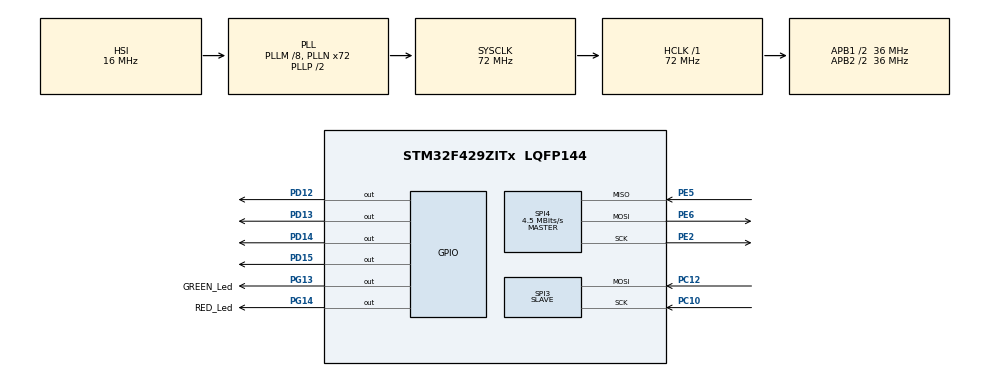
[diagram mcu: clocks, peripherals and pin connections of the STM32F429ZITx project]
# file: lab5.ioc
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Mcu.Family=STM32F4
Mcu.Name=STM32F429ZITx
Mcu.Package=LQFP144
NVIC.PriorityGroup=NVIC_PRIORITYGROUP_4
NVIC.SPI3_IRQn=true\:0\:0\:false\:false\:true\:true\:true\:true
NVIC.TIM2_IRQn=true\:0\:0\:false\:false\:true\:true\:true\:true
PA13.Mode=Serial_Wire
PA13.Signal=SYS_JTMS-SWDIO
PA14.Mode=Serial_Wire
PA14.Signal=SYS_JTCK-SWCLK
PA5.Signal=SPI1_SCK
PA6.Signal=SPI1_MISO
PA7.Signal=SPI1_MOSI
PB10.Signal=SPI2_SCK
PB3.Signal=SYS_JTDO-SWO
PC10.Mode=RX_Only_Simplex_Unidirect_Slave
PC10.Signal=SPI3_SCK
PC12.Mode=RX_Only_Simplex_Unidirect_Slave
PC12.Signal=SPI3_MOSI
PC3.Signal=SPI2_MOSI
PD12.Signal=GPIO_Output
PD13.Signal=GPIO_Output
PD14.Signal=GPIO_Output
PD15.Signal=GPIO_Output
PE2.Mode=Full_Duplex_Master
PE2.Signal=SPI4_SCK
PE5.Mode=Full_Duplex_Master
PE5.Signal=SPI4_MISO
PE6.Mode=Full_Duplex_Master
PE6.Signal=SPI4_MOSI
PG13.GPIO_Label=GREEN_Led
PG13.Signal=GPIO_Output
PG14.GPIO_Label=RED_Led
PG14.Signal=GPIO_Output
ProjectManager.HeapSize=0x200
ProjectManager.StackSize=0x400
ProjectManager.TargetToolchain=STM32CubeIDE
RCC.48MHZClocksFreq_Value=48000000
RCC.AHBFreq_Value=72000000
RCC.APB1CLKDivider=RCC_HCLK_DIV2
RCC.APB1Freq_Value=36000000
RCC.APB1TimFreq_Value=72000000
RCC.APB2CLKDivider=RCC_HCLK_DIV2
RCC.APB2Freq_Value=36000000
RCC.APB2TimFreq_Value=72000000
RCC.CortexFreq_Value=72000000
RCC.HCLKFreq_Value=72000000
RCC.HSE_VALUE=8000000
RCC.HSI_VALUE=16000000
RCC.LSE_VALUE=32768
RCC.PLLM=8
RCC.PLLN=72
RCC.PLLQ=3
RCC.PLLSAIN=50
RCC.SYSCLKFreq_VALUE=72000000
RCC.SYSCLKSource=RCC_SYSCLKSOURCE_PLLCLK
RCC.VCOOutputFreq_Value=144000000
SPI3.Direction=SPI_DIRECTION_2LINES_RXONLY
SPI3.Mode=SPI_MODE_SLAVE
SPI3.VirtualType=VM_SLAVE
SPI4.BaudRatePrescaler=SPI_BAUDRATEPRESCALER_8
SPI4.CalculateBaudRate=4.5 MBits/s
SPI4.Direction=SPI_DIRECTION_2LINES
SPI4.Mode=SPI_MODE_MASTER
SPI4.VirtualType=VM_MASTER
TIM2.Prescaler=8399
VP_TIM2_VS_ClockSourceINT.Mode=Internal
board=STM32F429I-DISC1

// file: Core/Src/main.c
/* USER CODE BEGIN Header */
/**
  ******************************************************************************
  * @file           : main.c
  * @brief          : Main program body
  ******************************************************************************
  * @attention
  *
  * Copyright (c) 2026 STMicroelectronics.
  * All rights reserved.
  *
  * This software is licensed under terms that can be found in the LICENSE file
  * in the root directory of this software component.
  * If no LICENSE file comes with this software, it is provided AS-IS.
  *
  ******************************************************************************
  */
/* USER CODE END Header */
#include "main.h"

/* USER CODE BEGIN Includes */
#include <stdio.h>                             // Reikalinga sprintf funkcijai
//#include "stm32f429i_discovery_lcd.h"          // Pagrindinė LCD biblioteka
/* USER CODE END Includes */

SPI_HandleTypeDef hspi3;
SPI_HandleTypeDef hspi4;

TIM_HandleTypeDef htim2;

/* USER CODE BEGIN PV */
// Privaloma dalis (Loopback)
uint8_t tx_loopback[4] = {8, 12, 13, 15};
uint8_t rx_loopback[4] = {0, 0, 0, 0};

// Papildoma dalis (Master -> Slave)
uint8_t tx_sequence[4] = {1, 3, 7, 12};
uint8_t rx_slave_val = 0;
uint8_t seq_index = 0;
// char lcd_buffer[30];
/* USER CODE END PV */

void SystemClock_Config(void);
static void MX_GPIO_Init(void);
static void MX_SPI3_Init(void);
static void MX_SPI4_Init(void);
static void MX_TIM2_Init(void);

int main(void)
{

  /* MCU Configuration--------------------------------------------------------*/

  /* Reset of all peripherals, Initializes the Flash interface and the Systick. */
  HAL_Init();

  /* Configure the system clock */
  SystemClock_Config();

  /* Initialize all configured peripherals */
  MX_GPIO_Init();
  MX_SPI3_Init();
  MX_SPI4_Init();
  MX_TIM2_Init();
  /* USER CODE BEGIN 2 */
  SET_BIT(hspi3.Instance->CR1, SPI_CR1_SSI);
  // 1. Vykdom Loopback testą (užpildys rx_loopback masyvą)

  // 2. Paleidžiam laikmatį (siųs po 1 baitą kas sekundę)
  HAL_TIM_Base_Start_IT(&htim2);

  // 3. Paruošiam SPI3 priimti pirmąjį baitą
  HAL_SPI_Receive_IT(&hspi3, &rx_slave_val, 1);
  // 1. LCD Inicializacija (BŪTINA TFT ekranui)
//   BSP_LCD_Init();
//   BSP_LCD_LayerDefaultInit(1, LCD_FRAME_BUFFER);
//   BSP_LCD_SelectLayer(1);
//   BSP_LCD_DisplayOn();
//   BSP_LCD_Clear(LCD_COLOR_WHITE);
//   BSP_LCD_SetTextColor(LCD_COLOR_BLACK);
//   BSP_LCD_SetBackColor(LCD_COLOR_WHITE);
//   BSP_LCD_SetFont(&Font16);

 //  BSP_LCD_DisplayStringAt(0, 10, (uint8_t *)"SPI Laboras 5", CENTER_MODE);

   // 2. PRIVALOMA DALIS: TransmitReceive (Loopback per PE6-PE5)
   // Ši funkcija blokuoja CPU, kol nusiunčia ir priima visus 4 baitus.
   HAL_SPI_TransmitReceive(&hspi4, tx_loopback, rx_loopback, 4, 100);

   // Rezultatų išvedimas į ekraną
//   BSP_LCD_DisplayStringAt(0, 40, (uint8_t *)"Loopback (SPI4):", LEFT_MODE);
//   for(int i=0; i<4; i++) {
// 	  sprintf(lcd_buffer, "TX:%d -> RX:%d", tx_loopback[i], rx_loopback[i]);
// 	  BSP_LCD_DisplayStringAt(0, 60 + (i*20), (uint8_t *)lcd_buffer, LEFT_MODE);
//   }

   // 3. PAPILDOMA DALIS: Paleidžiam laikmatį ir SPI3 Slave laukimą
   HAL_TIM_Base_Start_IT(&htim2); // TIM2 kas 1s duos pertrauktį
   HAL_SPI_Receive_IT(&hspi3, &rx_slave_val, 1); // SPI3 paruošiamas priimti 1 baitą
  /* USER CODE END 2 */

  /* Infinite loop */
  /* USER CODE BEGIN WHILE */
   while (1)
     {
         // 1. Išvalom masyvą, kad matytume tikrus duomenis
         for(int i=0; i<4; i++) rx_loopback[i] = 0;

         // 2. Siunčiam ir priimam Loopback duomenis
         HAL_SPI_TransmitReceive(&hspi4, tx_loopback, rx_loopback, 4, 100);

         // 3. Patikrinam, ar Slave pasiruošęs priimti kitą baitą
         if (hspi3.State == HAL_SPI_STATE_READY)
         {
             HAL_SPI_Receive_IT(&hspi3, &rx_slave_val, 1);
         } // <-- ŠITO SKLIAUSTO TRŪKO (uždaro if)

         HAL_Delay(500); // Pauzė, kad Live Expressions spėtų atsinaujinti

       /* USER CODE END WHILE */

       /* USER CODE BEGIN 3 */
     } // <-- ŠITAS uždaro while(1)
     /* USER CODE END 3 */
   } // <-- ŠITAS uždaro main() funkciją

void SystemClock_Config(void)
{
  RCC_OscInitTypeDef RCC_OscInitStruct = {0};
  RCC_ClkInitTypeDef RCC_ClkInitStruct = {0};

  /** Configure the main internal regulator output voltage
  */
  __HAL_RCC_PWR_CLK_ENABLE();
  __HAL_PWR_VOLTAGESCALING_CONFIG(PWR_REGULATOR_VOLTAGE_SCALE3);

  /** Initializes the RCC Oscillators according to the specified parameters
  * in the RCC_OscInitTypeDef structure.
  */
  RCC_OscInitStruct.OscillatorType = RCC_OSCILLATORTYPE_HSI;
  RCC_OscInitStruct.HSIState = RCC_HSI_ON;
  RCC_OscInitStruct.HSICalibrationValue = RCC_HSICALIBRATION_DEFAULT;
  RCC_OscInitStruct.PLL.PLLState = RCC_PLL_ON;
  RCC_OscInitStruct.PLL.PLLSource = RCC_PLLSOURCE_HSI;
  RCC_OscInitStruct.PLL.PLLM = 8;
  RCC_OscInitStruct.PLL.PLLN = 72;
  RCC_OscInitStruct.PLL.PLLP = RCC_PLLP_DIV2;
  RCC_OscInitStruct.PLL.PLLQ = 3;
  if (HAL_RCC_OscConfig(&RCC_OscInitStruct) != HAL_OK)
  {
    Error_Handler();
  }

  /** Initializes the CPU, AHB and APB buses clocks
  */
  RCC_ClkInitStruct.ClockType = RCC_CLOCKTYPE_HCLK|RCC_CLOCKTYPE_SYSCLK
                              |RCC_CLOCKTYPE_PCLK1|RCC_CLOCKTYPE_PCLK2;
  RCC_ClkInitStruct.SYSCLKSource = RCC_SYSCLKSOURCE_PLLCLK;
  RCC_ClkInitStruct.AHBCLKDivider = RCC_SYSCLK_DIV1;
  RCC_ClkInitStruct.APB1CLKDivider = RCC_HCLK_DIV2;
  RCC_ClkInitStruct.APB2CLKDivider = RCC_HCLK_DIV2;

  if (HAL_RCC_ClockConfig(&RCC_ClkInitStruct, FLASH_LATENCY_2) != HAL_OK)
  {
    Error_Handler();
  }
}

static void MX_SPI3_Init(void)
{

  /* SPI3 parameter configuration*/
  hspi3.Instance = SPI3;
  hspi3.Init.Mode = SPI_MODE_SLAVE;
  hspi3.Init.Direction = SPI_DIRECTION_2LINES_RXONLY;
  hspi3.Init.DataSize = SPI_DATASIZE_8BIT;
  hspi3.Init.CLKPolarity = SPI_POLARITY_LOW;
  hspi3.Init.CLKPhase = SPI_PHASE_1EDGE;
  hspi3.Init.NSS = SPI_NSS_SOFT;
  hspi3.Init.FirstBit = SPI_FIRSTBIT_MSB;
  hspi3.Init.TIMode = SPI_TIMODE_DISABLE;
  hspi3.Init.CRCCalculation = SPI_CRCCALCULATION_DISABLE;
  hspi3.Init.CRCPolynomial = 10;
  if (HAL_SPI_Init(&hspi3) != HAL_OK)
  {
    Error_Handler();
  }

}

static void MX_SPI4_Init(void)
{

  /* SPI4 parameter configuration*/
  hspi4.Instance = SPI4;
  hspi4.Init.Mode = SPI_MODE_MASTER;
  hspi4.Init.Direction = SPI_DIRECTION_2LINES;
  hspi4.Init.DataSize = SPI_DATASIZE_8BIT;
  hspi4.Init.CLKPolarity = SPI_POLARITY_LOW;
  hspi4.Init.CLKPhase = SPI_PHASE_1EDGE;
  hspi4.Init.NSS = SPI_NSS_SOFT;
  hspi4.Init.BaudRatePrescaler = SPI_BAUDRATEPRESCALER_8;
  hspi4.Init.FirstBit = SPI_FIRSTBIT_MSB;
  hspi4.Init.TIMode = SPI_TIMODE_DISABLE;
  hspi4.Init.CRCCalculation = SPI_CRCCALCULATION_DISABLE;
  hspi4.Init.CRCPolynomial = 10;
  if (HAL_SPI_Init(&hspi4) != HAL_OK)
  {
    Error_Handler();
  }

}

static void MX_TIM2_Init(void)
{

  TIM_ClockConfigTypeDef sClockSourceConfig = {0};
  TIM_MasterConfigTypeDef sMasterConfig = {0};

  htim2.Instance = TIM2;
  htim2.Init.Prescaler = 8399;
  htim2.Init.CounterMode = TIM_COUNTERMODE_UP;
  htim2.Init.Period = 9999;
  htim2.Init.ClockDivision = TIM_CLOCKDIVISION_DIV1;
  htim2.Init.AutoReloadPreload = TIM_AUTORELOAD_PRELOAD_DISABLE;
  if (HAL_TIM_Base_Init(&htim2) != HAL_OK)
  {
    Error_Handler();
  }
  sClockSourceConfig.ClockSource = TIM_CLOCKSOURCE_INTERNAL;
  if (HAL_TIM_ConfigClockSource(&htim2, &sClockSourceConfig) != HAL_OK)
  {
    Error_Handler();
  }
  sMasterConfig.MasterOutputTrigger = TIM_TRGO_RESET;
  sMasterConfig.MasterSlaveMode = TIM_MASTERSLAVEMODE_DISABLE;
  if (HAL_TIMEx_MasterConfigSynchronization(&htim2, &sMasterConfig) != HAL_OK)
  {
    Error_Handler();
  }

}

static void MX_GPIO_Init(void)
{
  GPIO_InitTypeDef GPIO_InitStruct = {0};

  /* GPIO Ports Clock Enable */
  __HAL_RCC_GPIOE_CLK_ENABLE();
  __HAL_RCC_GPIOC_CLK_ENABLE();
  __HAL_RCC_GPIOA_CLK_ENABLE();
  __HAL_RCC_GPIOB_CLK_ENABLE();
  __HAL_RCC_GPIOD_CLK_ENABLE();
  __HAL_RCC_GPIOG_CLK_ENABLE();

  /*Configure GPIO pin Output Level */
  HAL_GPIO_WritePin(GPIOD, GPIO_PIN_12|GPIO_PIN_13|GPIO_PIN_14|GPIO_PIN_15, GPIO_PIN_RESET);

  /*Configure GPIO pin Output Level */
  HAL_GPIO_WritePin(GPIOG, GREEN_Led_Pin|RED_Led_Pin, GPIO_PIN_RESET);

  /*Configure GPIO pin : PC3 */
  GPIO_InitStruct.Pin = GPIO_PIN_3;
  GPIO_InitStruct.Mode = GPIO_MODE_AF_PP;
  GPIO_InitStruct.Pull = GPIO_NOPULL;
  GPIO_InitStruct.Speed = GPIO_SPEED_FREQ_VERY_HIGH;
  GPIO_InitStruct.Alternate = GPIO_AF5_SPI2;
  HAL_GPIO_Init(GPIOC, &GPIO_InitStruct);

  /*Configure GPIO pins : PA5 PA6 PA7 */
  GPIO_InitStruct.Pin = GPIO_PIN_5|GPIO_PIN_6|GPIO_PIN_7;
  GPIO_InitStruct.Mode = GPIO_MODE_AF_PP;
  GPIO_InitStruct.Pull = GPIO_NOPULL;
  GPIO_InitStruct.Speed = GPIO_SPEED_FREQ_VERY_HIGH;
  GPIO_InitStruct.Alternate = GPIO_AF5_SPI1;
  HAL_GPIO_Init(GPIOA, &GPIO_InitStruct);

  /*Configure GPIO pin : PB10 */
  GPIO_InitStruct.Pin = GPIO_PIN_10;
  GPIO_InitStruct.Mode = GPIO_MODE_AF_PP;
  GPIO_InitStruct.Pull = GPIO_NOPULL;
  GPIO_InitStruct.Speed = GPIO_SPEED_FREQ_VERY_HIGH;
  GPIO_InitStruct.Alternate = GPIO_AF5_SPI2;
  HAL_GPIO_Init(GPIOB, &GPIO_InitStruct);

  /*Configure GPIO pins : PD12 PD13 PD14 PD15 */
  GPIO_InitStruct.Pin = GPIO_PIN_12|GPIO_PIN_13|GPIO_PIN_14|GPIO_PIN_15;
  GPIO_InitStruct.Mode = GPIO_MODE_OUTPUT_PP;
  GPIO_InitStruct.Pull = GPIO_NOPULL;
  GPIO_InitStruct.Speed = GPIO_SPEED_FREQ_LOW;
  HAL_GPIO_Init(GPIOD, &GPIO_InitStruct);

  /*Configure GPIO pins : GREEN_Led_Pin RED_Led_Pin */
  GPIO_InitStruct.Pin = GREEN_Led_Pin|RED_Led_Pin;
  GPIO_InitStruct.Mode = GPIO_MODE_OUTPUT_PP;
  GPIO_InitStruct.Pull = GPIO_NOPULL;
  GPIO_InitStruct.Speed = GPIO_SPEED_FREQ_LOW;
  HAL_GPIO_Init(GPIOG, &GPIO_InitStruct);

}

/* USER CODE BEGIN 4 */
// --- A: Laikmačio pertrauktis (kas 1 sekundę) ---
void HAL_TIM_PeriodElapsedCallback(TIM_HandleTypeDef *htim) {
    if (htim->Instance == TIM2) {
        // Master (SPI4) siunčia vieną baitą iš sekos {1, 3, 7, 12}
        HAL_SPI_Transmit(&hspi4, &tx_sequence[seq_index], 1, 10);

        // Indikacija: Žalias LED (PG13) mirkteli siunčiant
        HAL_GPIO_TogglePin(GPIOG, GPIO_PIN_13);

        seq_index++;
        if (seq_index >= 4) seq_index = 0;
    }
}

// --- B: SPI3 Slave priėmimo pertrauktis ---
// Ši funkcija iškviečiama automatiškai, kai SPI3 gauna 1 baitą
void HAL_SPI_RxCpltCallback(SPI_HandleTypeDef *hspi) {
    if (hspi->Instance == SPI3) {
        // Indikacija: Raudonas LED (PG14) mirkteli priėmus
        HAL_GPIO_TogglePin(GPIOG, GPIO_PIN_14);

        // Atvaizduojame gautą baitą TFT ekrane
//        BSP_LCD_SetTextColor(LCD_COLOR_RED);
//        sprintf(lcd_buffer, "SPI3 Slave RX: %d  ", rx_slave_val);
//        BSP_LCD_DisplayStringAt(0, 180, (uint8_t *)lcd_buffer, CENTER_MODE);
//        BSP_LCD_SetTextColor(LCD_COLOR_BLACK);

        // LABAI SVARBU: Reikia vėl „užtaisyti“ priėmimo funkciją kitam baitui!
        HAL_SPI_Receive_IT(&hspi3, &rx_slave_val, 1); // Užtaisom vėl
    }
}
/* USER CODE END 4 */

void Error_Handler(void)
{
  __disable_irq();
  while (1)
  {
  }
}
